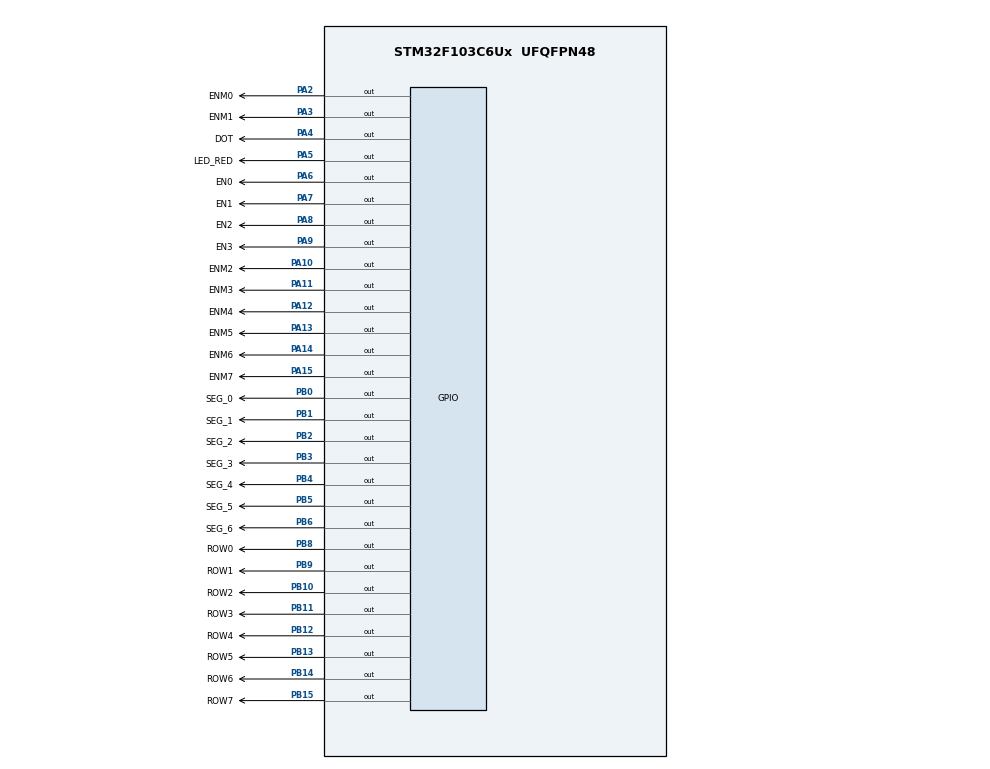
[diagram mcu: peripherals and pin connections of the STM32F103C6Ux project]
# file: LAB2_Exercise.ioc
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Mcu.Family=STM32F1
Mcu.Name=STM32F103C6Ux
Mcu.Package=UFQFPN48
NVIC.PriorityGroup=NVIC_PRIORITYGROUP_4
NVIC.TIM2_IRQn=true\:0\:0\:false\:false\:true\:true\:true
PA10.GPIO_Label=ENM2
PA10.Signal=GPIO_Output
PA11.GPIO_Label=ENM3
PA11.Signal=GPIO_Output
PA12.GPIO_Label=ENM4
PA12.Signal=GPIO_Output
PA13.GPIO_Label=ENM5
PA13.Signal=GPIO_Output
PA14.GPIO_Label=ENM6
PA14.Signal=GPIO_Output
PA15.GPIO_Label=ENM7
PA15.Signal=GPIO_Output
PA2.GPIO_Label=ENM0
PA2.Signal=GPIO_Output
PA3.GPIO_Label=ENM1
PA3.Signal=GPIO_Output
PA4.GPIO_Label=DOT
PA4.Signal=GPIO_Output
PA5.GPIO_Label=LED_RED
PA5.Signal=GPIO_Output
PA6.GPIO_Label=EN0
PA6.Signal=GPIO_Output
PA7.GPIO_Label=EN1
PA7.Signal=GPIO_Output
PA8.GPIO_Label=EN2
PA8.Signal=GPIO_Output
PA9.GPIO_Label=EN3
PA9.Signal=GPIO_Output
PB0.GPIO_Label=SEG_0
PB0.Signal=GPIO_Output
PB1.GPIO_Label=SEG_1
PB1.Signal=GPIO_Output
PB10.GPIO_Label=ROW2
PB10.Signal=GPIO_Output
PB11.GPIO_Label=ROW3
PB11.Signal=GPIO_Output
PB12.GPIO_Label=ROW4
PB12.Signal=GPIO_Output
PB13.GPIO_Label=ROW5
PB13.Signal=GPIO_Output
PB14.GPIO_Label=ROW6
PB14.Signal=GPIO_Output
PB15.GPIO_Label=ROW7
PB15.Signal=GPIO_Output
PB2.GPIO_Label=SEG_2
PB2.Signal=GPIO_Output
PB3.GPIO_Label=SEG_3
PB3.Signal=GPIO_Output
PB4.GPIO_Label=SEG_4
PB4.Signal=GPIO_Output
PB5.GPIO_Label=SEG_5
PB5.Signal=GPIO_Output
PB6.GPIO_Label=SEG_6
PB6.Signal=GPIO_Output
PB8.GPIO_Label=ROW0
PB8.Signal=GPIO_Output
PB9.GPIO_Label=ROW1
PB9.Signal=GPIO_Output
ProjectManager.HeapSize=0x200
ProjectManager.StackSize=0x400
ProjectManager.TargetToolchain=STM32CubeIDE
RCC.APB1Freq_Value=8000000
RCC.APB2Freq_Value=8000000
TIM2.Period=9
TIM2.Prescaler=7999
VP_SYS_VS_ND.Mode=No_Debug
VP_TIM2_VS_ClockSourceINT.Mode=Internal
board=custom

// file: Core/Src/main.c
/* USER CODE BEGIN Header */
/**
  ******************************************************************************
  * @file           : main.c
  * @brief          : Main program body
  ******************************************************************************
  * @attention
  *
  * <h2><center>&copy; Copyright (c) 2024 STMicroelectronics.
  * All rights reserved.</center></h2>
  *
  * This software component is licensed by ST under BSD 3-Clause license,
  * the "License"; You may not use this file except in compliance with the
  * License. You may obtain a copy of the License at:
  *                        opensource.org/licenses/BSD-3-Clause
  *
  ******************************************************************************
  */
/* USER CODE END Header */
#include "main.h"

/* USER CODE BEGIN Includes */
#include "software_timer.h"
/* USER CODE END Includes */

TIM_HandleTypeDef htim2;

void SystemClock_Config(void);
static void MX_GPIO_Init(void);
static void MX_TIM2_Init(void);

/* USER CODE BEGIN 0 */
int status = 0;
//int count = 50;
const uint8_t segDigits[10] = {
    0b01000000, // 0: Seg0, Seg1, Seg2, Seg3, Seg4, Seg5
    0b01111001, // 1: Seg1, Seg2
    0b00100100, // 2: Seg0, Seg1, Seg3, Seg4, Seg6
    0b00110000, // 3: Seg0, Seg1, Seg2, Seg3, Seg6
    0b00011001, // 4: Seg1, Seg2, Seg5, Seg6
    0b00010010, // 5: Seg0, Seg2, Seg3, Seg5, Seg6
    0b00000010, // 6: Seg0, Seg2, Seg3, Seg4, Seg5, Seg6
    0b01111000, // 7: Seg0, Seg1, Seg2
    0b00000000, // 8: Seg0, Seg1, Seg2, Seg3, Seg4, Seg5, Seg6
    0b00010000  // 9: Seg0, Seg1, Seg2, Seg3, Seg5, Seg6
};

// ham thuc hien led 7 doan
void displayDigit(uint8_t digit) {
	 	HAL_GPIO_WritePin(SEG_0_GPIO_Port, SEG_0_Pin, (segDigits[digit] & 0x01) ? 1 : 0);
	    HAL_GPIO_WritePin(SEG_1_GPIO_Port, SEG_1_Pin, (segDigits[digit] & 0x02) ? 1 : 0);
	    HAL_GPIO_WritePin(SEG_2_GPIO_Port, SEG_2_Pin, (segDigits[digit] & 0x04) ? 1 : 0);
	    HAL_GPIO_WritePin(SEG_3_GPIO_Port, SEG_3_Pin, (segDigits[digit] & 0x08) ? 1 : 0);
	    HAL_GPIO_WritePin(SEG_4_GPIO_Port, SEG_4_Pin, (segDigits[digit] & 0x10) ? 1 : 0);
	    HAL_GPIO_WritePin(SEG_5_GPIO_Port, SEG_5_Pin, (segDigits[digit] & 0x20) ? 1 : 0);
	    HAL_GPIO_WritePin(SEG_6_GPIO_Port, SEG_6_Pin, (segDigits[digit] & 0x40) ? 1 : 0);
}
const int MAX_LED = 4;
int index_led = 0;
int led_buffer[4] = {1, 2, 3, 4};
void update7SEG (int index) {
	HAL_GPIO_WritePin(GPIOA, EN0_Pin|EN1_Pin
	                          |EN2_Pin|EN3_Pin, 1);
	switch (index) {
		case 0:
			//Display the first 7SEG with led_buffer [0]
			HAL_GPIO_WritePin(GPIOA, EN0_Pin, 0);
			displayDigit(led_buffer[0]);
			break;
		case 1:
			//Display the second 7SEG with led_buffer [1]
			HAL_GPIO_WritePin(GPIOA, EN1_Pin, 0);
			displayDigit(led_buffer[1]);
			break;
		case 2:
			//Display the third 7SEG with led_buffer [2]
			HAL_GPIO_WritePin(GPIOA, EN2_Pin, 0);
			displayDigit(led_buffer[2]);
			break;
		case 3:
			//Display the forth 7SEG with led_buffer [3]
			HAL_GPIO_WritePin(GPIOA, EN3_Pin, 0);
			displayDigit(led_buffer[3]);
			break;
		default:

			break;
	}
	index_led++;
	if(index_led >= MAX_LED){
		index_led = 0;
	}
}
int hour = 17 , minute = 59 , second = 50;
void updateClockBuffer(){
	if(hour < 10){
		led_buffer[0] = 0;
		led_buffer[1] = hour;
	}
	else{
		led_buffer[0] = hour/10;
		led_buffer[1] = hour%10;
	}
	if(minute < 10){
		led_buffer[2] = 0;
		led_buffer[3] = minute;
	}
	else{
		led_buffer[2] = minute/10;
		led_buffer[3] = minute%10;
	}
}
void digitalClock(){
	second++;
	if(second >= 60){
		minute++;
		second = 0;
	}
	if(minute >= 60){
		hour++;
		minute = 0;
	}
	if(hour >= 24){
		hour = 0;
	}
}

const int MAX_LED_MATRIX = 8;
int index_led_matrix = 0;
uint8_t matrix_buffer[8] = {
    0x00, // Column 0
    0x7E, // Column 1
    0x04, // Column 2
    0x08, // Column 3
    0x08, // Column 4
    0x04, // Column 5
    0x7E, // Column 6
    0x00  // Column 7
};
void displayLEDMatrix(uint8_t digit){
    HAL_GPIO_WritePin(GPIOB, ROW0_Pin, (matrix_buffer[digit] & 0x01) ? 0 : 1);
    HAL_GPIO_WritePin(GPIOB, ROW1_Pin, (matrix_buffer[digit] & 0x02) ? 0 : 1);
    HAL_GPIO_WritePin(GPIOB, ROW2_Pin, (matrix_buffer[digit] & 0x04) ? 0 : 1);
    HAL_GPIO_WritePin(GPIOB, ROW3_Pin, (matrix_buffer[digit] & 0x08) ? 0 : 1);
    HAL_GPIO_WritePin(GPIOB, ROW4_Pin, (matrix_buffer[digit] & 0x10) ? 0 : 1);
    HAL_GPIO_WritePin(GPIOB, ROW5_Pin, (matrix_buffer[digit] & 0x20) ? 0 : 1);
    HAL_GPIO_WritePin(GPIOB, ROW6_Pin, (matrix_buffer[digit] & 0x40) ? 0 : 1);
    HAL_GPIO_WritePin(GPIOB, ROW7_Pin, (matrix_buffer[digit] & 0x80) ? 0 : 1);
}
void updateLEDMatrix (int index) {
	HAL_GPIO_WritePin(GPIOA, ENM0_Pin|ENM1_Pin|ENM2_Pin|ENM3_Pin
					|ENM4_Pin|ENM5_Pin|ENM6_Pin|ENM7_Pin, 1);
	switch (index) {
				case 0:
					HAL_GPIO_WritePin(ENM0_GPIO_Port, ENM0_Pin, 0);
					displayLEDMatrix(index);
					break;
				case 1:
					HAL_GPIO_WritePin(ENM1_GPIO_Port, ENM1_Pin, 0);
					displayLEDMatrix(index);
					break;
				case 2:
					HAL_GPIO_WritePin(ENM2_GPIO_Port, ENM2_Pin, 0);
					displayLEDMatrix(index);
					break;
				case 3:
					HAL_GPIO_WritePin(ENM3_GPIO_Port, ENM3_Pin, 0);
					displayLEDMatrix(index);
					break;
				case 4:
					HAL_GPIO_WritePin(ENM4_GPIO_Port, ENM4_Pin, 0);
					displayLEDMatrix(index);
					break;
				case 5:
					HAL_GPIO_WritePin(ENM5_GPIO_Port, ENM5_Pin, 0);
					displayLEDMatrix(index);
					break;
				case 6:
					HAL_GPIO_WritePin(ENM6_GPIO_Port, ENM6_Pin, 0);
					displayLEDMatrix(index);
					break;
				case 7:
					HAL_GPIO_WritePin(ENM7_GPIO_Port, ENM7_Pin, 0);
					displayLEDMatrix(index);
					break;
				default:
					break;
			}
	index++;
	if(index >= MAX_LED_MATRIX){
		index = 0;
	}
}
void updateClockMatrixBuffer(){
	uint8_t temp = matrix_buffer[0];
    for (int i = 0; i < MAX_LED_MATRIX - 1; i++) {
        matrix_buffer[i] = matrix_buffer[i + 1];
    }
    matrix_buffer[MAX_LED_MATRIX - 1] = temp;
}
/* USER CODE END 0 */

int main(void)
{

  /* MCU Configuration--------------------------------------------------------*/

  /* Reset of all peripherals, Initializes the Flash interface and the Systick. */
  HAL_Init();

  /* Configure the system clock */
  SystemClock_Config();

  /* Initialize all configured peripherals */
  MX_GPIO_Init();
  MX_TIM2_Init();
  /* USER CODE BEGIN 2 */
  HAL_TIM_Base_Start_IT (& htim2 );
  /* USER CODE END 2 */

  /* Infinite loop */
  /* USER CODE BEGIN WHILE */
/*
 *
 *
 * tai sao sai so cua software_timer la 1 tich */
  setTimer(0, 100);
  setTimer(1, 200);
  setTimer(2, 300);
  while (1)
  {
	  if(isTimerExpired(0) == 1){
	 		  //LED_RED
	 		  setTimer(0, 1000);
	 		  HAL_GPIO_TogglePin(LED_RED_GPIO_Port, LED_RED_Pin);
	 	  }
	 	  if(isTimerExpired(1) == 1){
	 		  //DOT
	 		  setTimer(1, 1000);
	 		  HAL_GPIO_TogglePin(DOT_GPIO_Port, DOT_Pin);
	 	  }
	 	  if(isTimerExpired(2) == 1){
	 		  //7led
	 		  setTimer(2, 250);
	 		  updateClockBuffer();
	 		  update7SEG(index_led);
	 	  }
	 	  if(isTimerExpired(3) == 1){
	 		  //7led
	 		  setTimer(3, 1000);
	 		  digitalClock();
	 	  }
	 	  if(isTimerExpired(4) == 1){
	 	  		  setTimer(3, 10);
	 	  		  updateLEDMatrix(index_led_matrix);
	 	  	  }
	 	  if(isTimerExpired(5) == 1){
	 	  		  setTimer(4, 500);
	 	  		  updateClockMatrixBuffer();
	 	  	  }

    /* USER CODE END WHILE */

  }
}

void SystemClock_Config(void)
{
  RCC_OscInitTypeDef RCC_OscInitStruct = {0};
  RCC_ClkInitTypeDef RCC_ClkInitStruct = {0};

  /** Initializes the RCC Oscillators according to the specified parameters
  * in the RCC_OscInitTypeDef structure.
  */
  RCC_OscInitStruct.OscillatorType = RCC_OSCILLATORTYPE_HSI;
  RCC_OscInitStruct.HSIState = RCC_HSI_ON;
  RCC_OscInitStruct.HSICalibrationValue = RCC_HSICALIBRATION_DEFAULT;
  RCC_OscInitStruct.PLL.PLLState = RCC_PLL_NONE;
  if (HAL_RCC_OscConfig(&RCC_OscInitStruct) != HAL_OK)
  {
    Error_Handler();
  }
  /** Initializes the CPU, AHB and APB buses clocks
  */
  RCC_ClkInitStruct.ClockType = RCC_CLOCKTYPE_HCLK|RCC_CLOCKTYPE_SYSCLK
                              |RCC_CLOCKTYPE_PCLK1|RCC_CLOCKTYPE_PCLK2;
  RCC_ClkInitStruct.SYSCLKSource = RCC_SYSCLKSOURCE_HSI;
  RCC_ClkInitStruct.AHBCLKDivider = RCC_SYSCLK_DIV1;
  RCC_ClkInitStruct.APB1CLKDivider = RCC_HCLK_DIV1;
  RCC_ClkInitStruct.APB2CLKDivider = RCC_HCLK_DIV1;

  if (HAL_RCC_ClockConfig(&RCC_ClkInitStruct, FLASH_LATENCY_0) != HAL_OK)
  {
    Error_Handler();
  }
}

static void MX_TIM2_Init(void)
{

  TIM_ClockConfigTypeDef sClockSourceConfig = {0};
  TIM_MasterConfigTypeDef sMasterConfig = {0};

  htim2.Instance = TIM2;
  htim2.Init.Prescaler = 7999;
  htim2.Init.CounterMode = TIM_COUNTERMODE_UP;
  htim2.Init.Period = 9;
  htim2.Init.ClockDivision = TIM_CLOCKDIVISION_DIV1;
  htim2.Init.AutoReloadPreload = TIM_AUTORELOAD_PRELOAD_DISABLE;
  if (HAL_TIM_Base_Init(&htim2) != HAL_OK)
  {
    Error_Handler();
  }
  sClockSourceConfig.ClockSource = TIM_CLOCKSOURCE_INTERNAL;
  if (HAL_TIM_ConfigClockSource(&htim2, &sClockSourceConfig) != HAL_OK)
  {
    Error_Handler();
  }
  sMasterConfig.MasterOutputTrigger = TIM_TRGO_RESET;
  sMasterConfig.MasterSlaveMode = TIM_MASTERSLAVEMODE_DISABLE;
  if (HAL_TIMEx_MasterConfigSynchronization(&htim2, &sMasterConfig) != HAL_OK)
  {
    Error_Handler();
  }

}

static void MX_GPIO_Init(void)
{
  GPIO_InitTypeDef GPIO_InitStruct = {0};

  /* GPIO Ports Clock Enable */
  __HAL_RCC_GPIOA_CLK_ENABLE();
  __HAL_RCC_GPIOB_CLK_ENABLE();

  /*Configure GPIO pin Output Level */
  HAL_GPIO_WritePin(GPIOA, ENM0_Pin|ENM1_Pin|DOT_Pin|LED_RED_Pin
                          |EN0_Pin|EN1_Pin|EN2_Pin|EN3_Pin
                          |ENM2_Pin|ENM3_Pin|ENM4_Pin|ENM5_Pin
                          |ENM6_Pin|ENM7_Pin, GPIO_PIN_RESET);

  /*Configure GPIO pin Output Level */
  HAL_GPIO_WritePin(GPIOB, SEG_0_Pin|SEG_1_Pin|SEG_2_Pin|ROW2_Pin
                          |ROW3_Pin|ROW4_Pin|ROW5_Pin|ROW6_Pin
                          |ROW7_Pin|SEG_3_Pin|SEG_4_Pin|SEG_5_Pin
                          |SEG_6_Pin|ROW0_Pin|ROW1_Pin, GPIO_PIN_RESET);

  /*Configure GPIO pins : ENM0_Pin ENM1_Pin DOT_Pin LED_RED_Pin
                           EN0_Pin EN1_Pin EN2_Pin EN3_Pin
                           ENM2_Pin ENM3_Pin ENM4_Pin ENM5_Pin
                           ENM6_Pin ENM7_Pin */
  GPIO_InitStruct.Pin = ENM0_Pin|ENM1_Pin|DOT_Pin|LED_RED_Pin
                          |EN0_Pin|EN1_Pin|EN2_Pin|EN3_Pin
                          |ENM2_Pin|ENM3_Pin|ENM4_Pin|ENM5_Pin
                          |ENM6_Pin|ENM7_Pin;
  GPIO_InitStruct.Mode = GPIO_MODE_OUTPUT_PP;
  GPIO_InitStruct.Pull = GPIO_NOPULL;
  GPIO_InitStruct.Speed = GPIO_SPEED_FREQ_LOW;
  HAL_GPIO_Init(GPIOA, &GPIO_InitStruct);

  /*Configure GPIO pins : SEG_0_Pin SEG_1_Pin SEG_2_Pin ROW2_Pin
                           ROW3_Pin ROW4_Pin ROW5_Pin ROW6_Pin
                           ROW7_Pin SEG_3_Pin SEG_4_Pin SEG_5_Pin
                           SEG_6_Pin ROW0_Pin ROW1_Pin */
  GPIO_InitStruct.Pin = SEG_0_Pin|SEG_1_Pin|SEG_2_Pin|ROW2_Pin
                          |ROW3_Pin|ROW4_Pin|ROW5_Pin|ROW6_Pin
                          |ROW7_Pin|SEG_3_Pin|SEG_4_Pin|SEG_5_Pin
                          |SEG_6_Pin|ROW0_Pin|ROW1_Pin;
  GPIO_InitStruct.Mode = GPIO_MODE_OUTPUT_PP;
  GPIO_InitStruct.Pull = GPIO_NOPULL;
  GPIO_InitStruct.Speed = GPIO_SPEED_FREQ_LOW;
  HAL_GPIO_Init(GPIOB, &GPIO_InitStruct);

}

/* USER CODE BEGIN 4 */

void HAL_TIM_PeriodElapsedCallback ( TIM_HandleTypeDef * htim )
{
	timerRun();
}
/* USER CODE END 4 */

void Error_Handler(void)
{
  __disable_irq();
  while (1)
  {
  }
}

/************************ (C) COPYRIGHT STMicroelectronics *****END OF FILE****/
